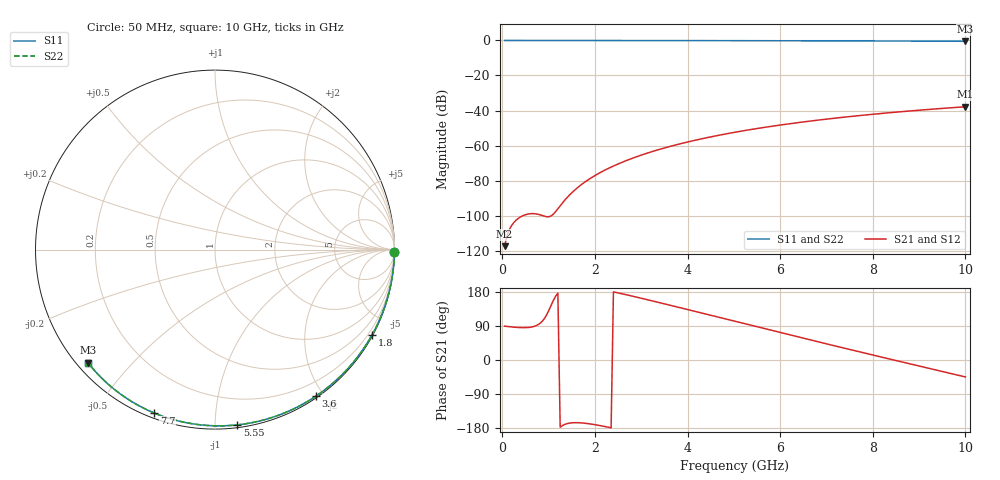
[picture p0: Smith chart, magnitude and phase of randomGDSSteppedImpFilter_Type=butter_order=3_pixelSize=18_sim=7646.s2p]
! freq	dB(S11)	phase(S11)	dB(S12)	phase(S12)
!  dB(S21)	phase(S21)	dB(S22)	phase(S22)
!S-par simulation data
#  GHz  S  DB  R 50
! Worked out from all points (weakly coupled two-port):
!   200 points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, 50 MHz to 10 GHz, reference 50 ohm
!   highest |S21| = -37.85 dB at 10 GHz (marker M1); lowest = -117.4 dB at 50 MHz (marker M2)
!   lowest |S11| = -0.5 dB at 10 GHz (marker M3), VSWR 37.04, Z = 1.54 - j19 ohm
!   |S11| at or under -10 dB: nowhere
!   |S22| runs from -0.5 to 0.0 dB; largest |S21 - S12| = 0
!   S11 on the Smith chart (normalised r, x): 50 MHz: open; 1.8 GHz: 0.03, -3.95; 3.6 GHz: 0.02, -1.90; 5.55 GHz: 0.02, -1.14; 7.7 GHz: 0.02, -0.69; 10 GHz: 0.03, -0.38
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0.05  -0.00 -0.8  -117.43 89.3  -117.43 89.3  -0.00 -0.8
0.45  -0.01 -7.2  -99.96 85.3  -99.96 85.3  -0.01 -7.2
0.9  -0.02 -14.3  -100.25 107.7  -100.25 107.7  -0.02 -14.3
1.75  -0.04 -27.6  -81.45 -166.4  -81.45 -166.4  -0.04 -27.6
1.8  -0.04 -28.4  -80.51 -167.1  -80.51 -167.1  -0.04 -28.4
1.85  -0.04 -29.2  -79.61 -167.9  -79.61 -167.9  -0.04 -29.2
2.05  -0.04 -32.3  -76.37 -171.7  -76.37 -171.7  -0.04 -32.3
2.25  -0.05 -35.3  -73.56 -176.4  -73.56 -176.4  -0.05 -35.3
2.55  -0.05 -39.9  -69.94 175.8  -69.94 175.8  -0.05 -39.9
2.95  -0.06 -45.9  -65.91 164.5  -65.91 164.5  -0.06 -45.9
3.4  -0.07 -52.5  -62.13 151.2  -62.13 151.2  -0.07 -52.5
3.6  -0.07 -55.5  -60.65 145.2  -60.65 145.2  -0.07 -55.5
3.9  -0.08 -59.8  -58.60 136.2  -58.60 136.2  -0.08 -59.8
4.3  -0.09 -65.5  -56.16 124.1  -56.16 124.1  -0.09 -65.5
5.05  -0.12 -76.0  -52.27 101.3  -52.27 101.3  -0.12 -76.0
5.55  -0.14 -82.7  -50.07 86.1  -50.07 86.1  -0.14 -82.7
6.1  -0.16 -90.0  -47.92 69.5  -47.92 69.5  -0.16 -90.0
6.7  -0.19 -97.8  -45.85 51.5  -45.85 51.5  -0.19 -97.8
7.7  -0.25 -110.4  -42.91 22.0  -42.91 22.0  -0.25 -110.4
8.35  -0.30 -118.4  -41.27 3.0  -41.27 3.0  -0.30 -118.4
9.2  -0.38 -128.8  -39.39 -21.6  -39.39 -21.6  -0.38 -128.8
10  -0.47 -138.4  -37.85 -44.7  -37.85 -44.7  -0.47 -138.4
